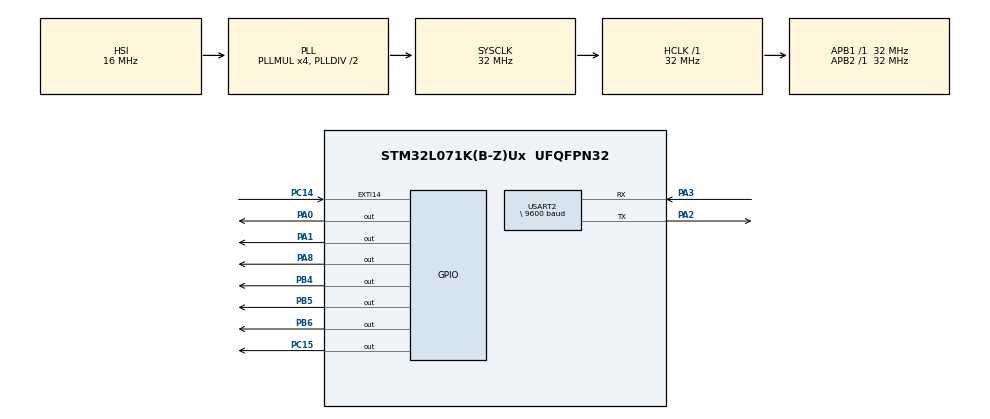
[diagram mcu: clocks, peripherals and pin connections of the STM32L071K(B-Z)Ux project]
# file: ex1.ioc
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Dma.MEMTOMEM.1.Direction=DMA_MEMORY_TO_MEMORY
Dma.MEMTOMEM.1.Instance=DMA1_Channel1
Dma.MEMTOMEM.1.MemDataAlignment=DMA_MDATAALIGN_BYTE
Dma.MEMTOMEM.1.MemInc=DMA_MINC_ENABLE
Dma.MEMTOMEM.1.Mode=DMA_NORMAL
Dma.MEMTOMEM.1.PeriphDataAlignment=DMA_PDATAALIGN_BYTE
Dma.MEMTOMEM.1.PeriphInc=DMA_PINC_ENABLE
Dma.MEMTOMEM.1.Priority=DMA_PRIORITY_LOW
Dma.Request0=USART2_RX
Dma.Request1=MEMTOMEM
Dma.USART2_RX.0.Direction=DMA_PERIPH_TO_MEMORY
Dma.USART2_RX.0.Instance=DMA1_Channel5
Dma.USART2_RX.0.MemDataAlignment=DMA_MDATAALIGN_BYTE
Dma.USART2_RX.0.MemInc=DMA_MINC_ENABLE
Dma.USART2_RX.0.Mode=DMA_CIRCULAR
Dma.USART2_RX.0.PeriphDataAlignment=DMA_PDATAALIGN_BYTE
Dma.USART2_RX.0.PeriphInc=DMA_PINC_DISABLE
Dma.USART2_RX.0.Priority=DMA_PRIORITY_LOW
Mcu.Family=STM32L0
Mcu.Name=STM32L071K(B-Z)Ux
Mcu.Package=UFQFPN32
NVIC.DMA1_Channel1_IRQn=true\:0\:0\:false\:false\:true\:true\:true
NVIC.DMA1_Channel4_5_6_7_IRQn=true\:0\:0\:false\:false\:true\:false\:true
NVIC.EXTI4_15_IRQn=true\:0\:0\:false\:false\:true\:true\:true
NVIC.TIM3_IRQn=true\:0\:0\:false\:false\:true\:true\:true
NVIC.TIM6_IRQn=true\:0\:0\:false\:false\:true\:true\:true
NVIC.USART2_IRQn=true\:0\:0\:false\:false\:true\:true\:true
PA0.Signal=GPIO_Output
PA1.Signal=GPIO_Output
PA13.Mode=Serial_Wire
PA13.Signal=SYS_SWDIO
PA14.Mode=Serial_Wire
PA14.Signal=SYS_SWCLK
PA2.Mode=Asynchronous
PA2.Signal=USART2_TX
PA3.Mode=Asynchronous
PA3.Signal=USART2_RX
PA8.Signal=GPIO_Output
PB4.Signal=GPIO_Output
PB5.Signal=GPIO_Output
PB6.Signal=GPIO_Output
PC14-OSC32_IN.Signal=GPXTI14
PC15-OSC32_OUT.Signal=GPIO_Output
ProjectManager.HeapSize=0x200
ProjectManager.StackSize=0x400
ProjectManager.TargetToolchain=MDK-ARM V5
RCC.AHBFreq_Value=32000000
RCC.APB1Freq_Value=32000000
RCC.APB1TimFreq_Value=32000000
RCC.APB2Freq_Value=32000000
RCC.APB2TimFreq_Value=32000000
RCC.HCLKFreq_Value=32000000
RCC.HSI16_VALUE=16000000
RCC.HSI_VALUE=16000000
RCC.LSE_VALUE=32768
RCC.MSI_VALUE=2097000
RCC.PLLMUL=RCC_PLLMUL_4
RCC.SYSCLKFreq_VALUE=32000000
RCC.SYSCLKSource=RCC_SYSCLKSOURCE_PLLCLK
RCC.VCOOutputFreq_Value=64000000
RTC.Format=RTC_FORMAT_BIN
RTC.SynchPrediv=307
TIM3.Period=999
TIM3.Prescaler=31
TIM6.Period=999
TIM6.Prescaler=31
USART2.BaudRate=\ 9600
USART2.VirtualMode-Asynchronous=VM_ASYNC
VP_CRC_VS_CRC.Mode=CRC_Activate
VP_RTC_VS_RTC_Activate.Mode=RTC_Enabled
VP_RTC_VS_RTC_Calendar.Mode=RTC_Calendar
VP_TIM3_VS_ClockSourceINT.Mode=Internal
VP_TIM6_VS_ClockSourceINT.Mode=Enable_Timer
board=custom

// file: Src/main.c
/* USER CODE BEGIN Header */
/**
  ******************************************************************************
  * @file           : main.c
  * @brief          : Main program body
  ******************************************************************************
  * @attention
  *
  * <h2><center>&copy; Copyright (c) 2019 STMicroelectronics.
  * All rights reserved.</center></h2>
  *
  * This software component is licensed by ST under BSD 3-Clause license,
  * the "License"; You may not use this file except in compliance with the
  * License. You may obtain a copy of the License at:
  *                        opensource.org/licenses/BSD-3-Clause
  *
  ******************************************************************************
  */
/* USER CODE END Header */

#include "main.h"
#include "crc.h"
#include "dma.h"
#include "rtc.h"
#include "tim.h"
#include "usart.h"
#include "gpio.h"

/* USER CODE BEGIN Includes */
#include "stm32l0xx_hal.h"
#include "zm4xx_gpio.h"
#include "spi.h"
#include "timer.h"
#include "stddef.h"
#include "sx127x_lora.h"
#include "temperature.h"
/* USER CODE END Includes */

/* USER CODE BEGIN PTD */

#define FREQ  (433000000)
void SystemClock_Config(void);
void Hardware_Init(void);
radio_handle_t  handle;
 int ret = RADIO_RET_OK;

    uint16_t len = 0;
		uint8_t rx[100];
		uint8_t tx = 0x55;
		uint8_t cntr = 0;

unsigned int key=0;
float max=26.0,min=22.0;
unsigned char send[7],rec[7];
/* USER CODE END PTD */

void SystemClock_Config(void);

/* USER CODE BEGIN 0 */
void Task_BrdInit(void)
{
    HAL_GPIO_WritePin(GPIOC, GPIO_PIN_15, GPIO_PIN_SET);

    OLED_PowerControl(ENABLE);

    HAL_Delay(200);
    OLED_Init();
    OLED_Clear();

    OLED_ShowString(0, 0, (unsigned char *)"                ", 16);
    OLED_ShowString(0, 2, (unsigned char *)"                ", 16);
}
void LoRa_Init(void)
{

	handle = radio_zm4xx_inst_init(spi_recv_byte,spi_send_byte,zm4xx_rst_pin_set,zm4xx_sel_pin_set,delay_ms,delay_us);

	if(handle != NULL){
		if(RADIO_RET_OK == radio_freq_set(handle, FREQ)){
				HAL_GPIO_WritePin(GPIOC, GPIO_PIN_15,GPIO_PIN_RESET);
		}

		radio_mode_set(handle, RX_MODE);	//Receive Mode
	}
}
/* USER CODE END 0 */

int main(void)
{
  /* USER CODE BEGIN 1 */
    char lcdLine_1st_line[20];
    char lcdLine_2st_line[20];
		char lcdLine_3st_line[20];
	float tem;
	unsigned int i,num,k1,k2;

  /* USER CODE END 1 */

  /* MCU Configuration--------------------------------------------------------*/

  /* Reset of all peripherals, Initializes the Flash interface and the Systick. */
  HAL_Init();

  /* Configure the system clock */
  SystemClock_Config();

  /* Initialize all configured peripherals */
  MX_GPIO_Init();
  MX_DMA_Init();
  MX_CRC_Init();
  MX_TIM3_Init();
  MX_TIM6_Init();
  MX_USART2_UART_Init();
  MX_RTC_Init();
  /* USER CODE BEGIN 2 */
    Task_BrdInit();
		zm4xx_pin_init(); //LORA��Ҫ
    spi_init();//LORA��Ҫ
		LoRa_Init();
		HAL_UART_Receive_DMA(&huart2,rec,sizeof(rec));
  /* USER CODE END 2 */

  /* Infinite loop */
    while (1)
    {

    /* USER CODE BEGIN 3 */
			tem=Get_Temperature();
			if(key==0)
			{
				sprintf(lcdLine_1st_line, "			Temperature					");
				sprintf(lcdLine_2st_line, "					 %.1f 				  ",tem);

				OLED_ShowString(0, 0, (unsigned char *)lcdLine_1st_line, 16);
				OLED_ShowString(0, 2, (unsigned char *)lcdLine_2st_line, 16);
			}
			if(key==1)
			{
				sprintf(lcdLine_1st_line, "     Tmax: %.1f          ",max);
				sprintf(lcdLine_2st_line, "     Tmin: %.1f          ",min);

				OLED_ShowString(0, 0, (unsigned char *)lcdLine_1st_line, 16);
				OLED_ShowString(0, 2, (unsigned char *)lcdLine_2st_line, 16);
			}

			if(tem>max)
			{
				HAL_GPIO_WritePin(GPIOA, GPIO_PIN_0, GPIO_PIN_RESET);
				HAL_GPIO_WritePin(GPIOA, GPIO_PIN_1, GPIO_PIN_SET);
				k1=0;
				k2=1;
			}
			else if(tem<min)
			{
				HAL_GPIO_WritePin(GPIOA, GPIO_PIN_0, GPIO_PIN_SET);
				HAL_GPIO_WritePin(GPIOA, GPIO_PIN_1, GPIO_PIN_RESET);
				k1=1;
				k2=0;
			}
			else
			{
				HAL_GPIO_WritePin(GPIOA, GPIO_PIN_0, GPIO_PIN_RESET);
				HAL_GPIO_WritePin(GPIOA, GPIO_PIN_1, GPIO_PIN_RESET);
				k1=0;
				k2=0;
			}

			radio_mode_set(handle, RX_MODE);
			ret = radio_buf_recv(handle, rx, &len);
			i=5000;
			while(i--&&ret != RADIO_RET_OK)
				ret = radio_buf_recv(handle, rx, &len);
			if(ret == RADIO_RET_OK)
			{
				sscanf((char *)rx,"%d",&num);
				switch (num)
				{
					case 11:
					{
						sprintf(lcdLine_3st_line, "Temperatur %2.1f",tem);
						radio_buf_send(handle, (unsigned char *)lcdLine_3st_line, sizeof(lcdLine_3st_line));
						radio_buf_send(handle, (unsigned char *)lcdLine_3st_line, sizeof(lcdLine_3st_line));
					}break;
					case 12:
					{
						sprintf(lcdLine_3st_line, "Tmax:%2.1f Tmin:%2.1f",max,min);
						radio_buf_send(handle, (unsigned char *)lcdLine_3st_line, sizeof(lcdLine_3st_line));
						radio_buf_send(handle, (unsigned char *)lcdLine_3st_line, sizeof(lcdLine_3st_line));
					}break;
					case 21:
					{
						sprintf(lcdLine_1st_line, "K1_Status %d",k1);
						radio_buf_send(handle, (unsigned char *)lcdLine_1st_line, sizeof(lcdLine_1st_line));
						radio_buf_send(handle, (unsigned char *)lcdLine_1st_line, sizeof(lcdLine_1st_line));
					}break;
					case 22:
					{
						sprintf(lcdLine_1st_line, "K2_Status %d",k2);
						radio_buf_send(handle, (unsigned char *)lcdLine_1st_line, sizeof(lcdLine_1st_line));
						radio_buf_send(handle, (unsigned char *)lcdLine_1st_line, sizeof(lcdLine_1st_line));
					}break;
				}
			}
    }
  /* USER CODE END 3 */
}

/* USER CODE BEGIN 4 */
void HAL_UART_RxCpltCallback(UART_HandleTypeDef *huart)
{
	float max1=0,min1=0;
	if(rec[0]=='M'&&rec[1]=='A'&&rec[2]=='X')
	{
		sscanf((char *)rec,"MAX%f",&max1);
		if(max1>min)
		{
			max=max1;
			HAL_UART_Transmit(&huart2,(uint8_t *)"OK\n",3,100);
		}
		else
		{
			HAL_UART_Transmit(&huart2,(uint8_t *)"ERROR\n",6,100);
		}
	}
	else if(rec[0]=='M'&&rec[1]=='I'&&rec[2]=='N')
	{
		sscanf((char *)rec,"MIN%f",&min1);
		if(min1<max)
		{
			min=min1;
			HAL_UART_Transmit(&huart2,(uint8_t *)"OK\n",3,100);
		}
		else
		{
			HAL_UART_Transmit(&huart2,(uint8_t *)"ERROR\n",6,100);
		}
	}
	else
	{
		HAL_UART_Transmit(&huart2,(uint8_t *)"ERROR\n",6,100);
	}
}

void HAL_GPIO_EXTI_Callback(uint16_t GPIO_Pin)
{
	key++;
	if(key==2) key=0;
}
/* USER CODE END 4 */

void SystemClock_Config(void)
{
  RCC_OscInitTypeDef RCC_OscInitStruct = {0};
  RCC_ClkInitTypeDef RCC_ClkInitStruct = {0};
  RCC_PeriphCLKInitTypeDef PeriphClkInit = {0};

  /** Configure the main internal regulator output voltage
  */
  __HAL_PWR_VOLTAGESCALING_CONFIG(PWR_REGULATOR_VOLTAGE_SCALE1);
  /** Initializes the CPU, AHB and APB busses clocks
  */
  RCC_OscInitStruct.OscillatorType = RCC_OSCILLATORTYPE_HSI|RCC_OSCILLATORTYPE_LSI;
  RCC_OscInitStruct.HSIState = RCC_HSI_ON;
  RCC_OscInitStruct.HSICalibrationValue = RCC_HSICALIBRATION_DEFAULT;
  RCC_OscInitStruct.LSIState = RCC_LSI_ON;
  RCC_OscInitStruct.PLL.PLLState = RCC_PLL_ON;
  RCC_OscInitStruct.PLL.PLLSource = RCC_PLLSOURCE_HSI;
  RCC_OscInitStruct.PLL.PLLMUL = RCC_PLLMUL_4;
  RCC_OscInitStruct.PLL.PLLDIV = RCC_PLLDIV_2;
  if (HAL_RCC_OscConfig(&RCC_OscInitStruct) != HAL_OK)
  {
    Error_Handler();
  }
  /** Initializes the CPU, AHB and APB busses clocks
  */
  RCC_ClkInitStruct.ClockType = RCC_CLOCKTYPE_HCLK|RCC_CLOCKTYPE_SYSCLK
                              |RCC_CLOCKTYPE_PCLK1|RCC_CLOCKTYPE_PCLK2;
  RCC_ClkInitStruct.SYSCLKSource = RCC_SYSCLKSOURCE_PLLCLK;
  RCC_ClkInitStruct.AHBCLKDivider = RCC_SYSCLK_DIV1;
  RCC_ClkInitStruct.APB1CLKDivider = RCC_HCLK_DIV1;
  RCC_ClkInitStruct.APB2CLKDivider = RCC_HCLK_DIV1;

  if (HAL_RCC_ClockConfig(&RCC_ClkInitStruct, FLASH_LATENCY_1) != HAL_OK)
  {
    Error_Handler();
  }
  PeriphClkInit.PeriphClockSelection = RCC_PERIPHCLK_USART2|RCC_PERIPHCLK_RTC;
  PeriphClkInit.Usart2ClockSelection = RCC_USART2CLKSOURCE_PCLK1;
  PeriphClkInit.RTCClockSelection = RCC_RTCCLKSOURCE_LSI;
  if (HAL_RCCEx_PeriphCLKConfig(&PeriphClkInit) != HAL_OK)
  {
    Error_Handler();
  }
}

void Error_Handler(void)
{
}

/************************ (C) COPYRIGHT STMicroelectronics *****END OF FILE****/
